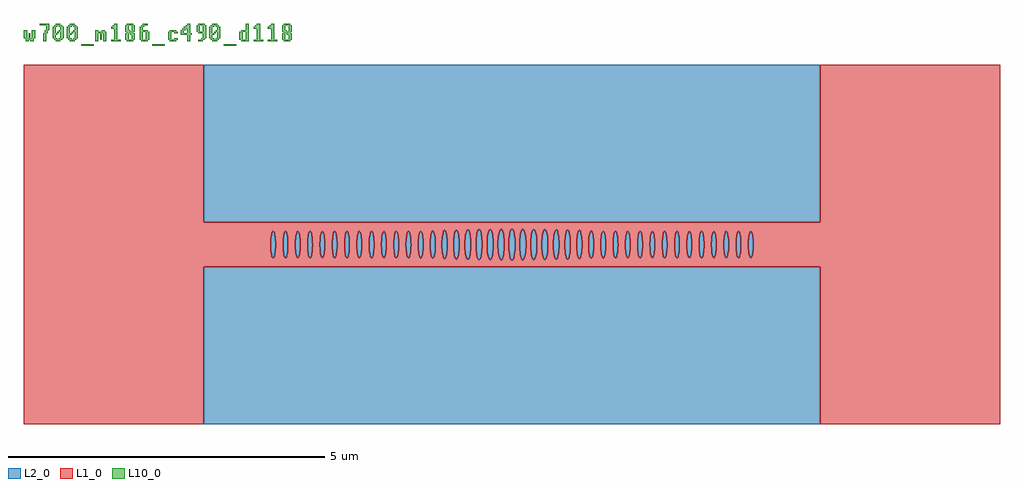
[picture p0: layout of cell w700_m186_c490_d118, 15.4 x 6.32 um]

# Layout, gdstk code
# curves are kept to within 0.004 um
import gdstk
lib = gdstk.Library(unit=1e-6, precision=1e-09)
def R(c, l, rs):  # rectangles x0, y0, x1, y1
    for r in rs: c.add(gdstk.rectangle(r[:2], r[2:], *l))
def A(c, l, x, y, w, h, nx, ny, dx, dy):  # array of equal rectangles
    R(c, l, [(x+i*dx, y+j*dy, x+i*dx+w, y+j*dy+h) for i in range(nx) for j in range(ny)])
def P(c, l, *ps):  # polygons
    for p in ps: c.add(gdstk.Polygon(p, *l))
L1_0 = (1, 0)
L2_0 = (2, 0)
L10_0 = (10, 0)

w700_m186_c490_d118 = lib.new_cell('w700_m186_c490_d118')
P(w700_m186_c490_d118, L1_0, [(-4.867,-2.835),(-4.867,-0.35),(-2.836,-0.35),(-2.836,0.35),(-4.867,0.35),(-4.867,2.835),(-7.702,2.835),(-7.702,-0.02),(-3.808,-0.02),(-3.807,0.059),(-3.795,0.159),(-3.782,0.198),(-3.768,0.21),(-3.753,0.191),(-3.741,0.145),(-3.731,-0.02),(-3.614,-0.02),(-3.61,0.096),(-3.601,0.159),(-3.588,0.198),(-3.573,0.21),(-3.559,0.191),(-3.547,0.145),(-3.536,-0.02),(-3.42,-0.02),(-3.412,0.13),(-3.394,0.198),(-3.379,0.21),(-3.358,0.171),(-3.348,0.114),(-3.342,-0.02),(-3.225,-0.02),(-3.224,0.059),(-3.212,0.159),(-3.2,0.198),(-3.185,0.21),(-3.164,0.171),(-3.154,0.114),(-3.148,-0.02),(-3.031,-0.02),(-3.03,0.059),(-3.018,0.159),(-2.998,0.208),(-2.983,0.204),(-2.976,0.191),(-2.96,0.114),(-2.954,-0.04),(-2.97,-0.171),(-2.976,-0.191),(-2.991,-0.21),(-3.005,-0.198),(-3.018,-0.159),(-3.031,-0.02),(-3.148,-0.02),(-3.164,-0.171),(-3.185,-0.21),(-3.2,-0.198),(-3.212,-0.159),(-3.225,-0.02),(-3.342,-0.02),(-3.358,-0.171),(-3.379,-0.21),(-3.394,-0.198),(-3.406,-0.159),(-3.42,-0.02),(-3.536,-0.02),(-3.547,-0.145),(-3.559,-0.191),(-3.573,-0.21),(-3.588,-0.198),(-3.601,-0.159),(-3.614,-0.02),(-3.731,-0.02),(-3.741,-0.145),(-3.753,-0.191),(-3.768,-0.21),(-3.782,-0.198),(-3.795,-0.159),(-3.808,-0.02),(-7.702,-0.02),(-7.702,-2.835)],
  [(-1.865,0.059),(-1.847,0.182),(-1.847,0.35),(-2.836,0.35),(-2.836,0.059),(-2.818,0.182),(-2.804,0.208),(-2.789,0.204),(-2.77,0.145),(-2.76,-0.02),(-2.643,-0.02),(-2.639,0.096),(-2.63,0.159),(-2.617,0.198),(-2.602,0.21),(-2.588,0.191),(-2.576,0.145),(-2.565,-0.02),(-2.449,-0.02),(-2.441,0.13),(-2.423,0.198),(-2.408,0.21),(-2.387,0.171),(-2.377,0.114),(-2.371,-0.02),(-2.254,-0.02),(-2.253,0.059),(-2.241,0.159),(-2.229,0.198),(-2.214,0.21),(-2.193,0.171),(-2.183,0.114),(-2.177,-0.02),(-2.06,-0.02),(-2.052,0.13),(-2.041,0.182),(-2.027,0.208),(-2.012,0.204),(-1.999,0.171),(-1.983,0.04),(-1.989,-0.114),(-2.005,-0.191),(-2.02,-0.21),(-2.034,-0.198),(-2.047,-0.159),(-2.06,-0.02),(-2.177,-0.02),(-2.193,-0.171),(-2.214,-0.21),(-2.229,-0.198),(-2.241,-0.159),(-2.254,-0.02),(-2.371,-0.02),(-2.387,-0.171),(-2.408,-0.21),(-2.423,-0.198),(-2.435,-0.159),(-2.449,-0.02),(-2.565,-0.02),(-2.576,-0.145),(-2.588,-0.191),(-2.602,-0.21),(-2.617,-0.198),(-2.63,-0.159),(-2.643,-0.02),(-2.76,-0.02),(-2.77,-0.145),(-2.782,-0.191),(-2.797,-0.21),(-2.811,-0.198),(-2.824,-0.159),(-2.836,-0.059),(-2.836,-0.35),(-1.847,-0.35),(-1.847,-0.182),(-1.865,-0.059)],
  [(-1.833,0.208),(-1.818,0.204),(-1.799,0.145),(-1.789,-0.02),(-1.673,-0.02),(-1.664,0.131),(-1.653,0.183),(-1.639,0.209),(-1.624,0.205),(-1.605,0.146),(-1.594,0),(-1.481,0),(-1.471,0.145),(-1.459,0.192),(-1.445,0.214),(-1.437,0.214),(-1.423,0.192),(-1.411,0.145),(-1.401,0),(-1.292,0),(-1.281,0.148),(-1.269,0.196),(-1.254,0.218),(-1.239,0.211),(-1.225,0.175),(-1.215,0.115),(-1.209,0),(-1.106,0),(-1.095,0.151),(-1.082,0.201),(-1.067,0.223),(-1.059,0.223),(-1.043,0.201),(-1.026,0.118),(-1.02,-0.041),(-1.037,-0.179),(-1.051,-0.216),(-1.067,-0.223),(-1.082,-0.201),(-1.095,-0.151),(-1.106,0),(-1.209,0),(-1.215,-0.115),(-1.225,-0.175),(-1.239,-0.211),(-1.254,-0.218),(-1.269,-0.196),(-1.281,-0.148),(-1.292,0),(-1.401,0),(-1.411,-0.145),(-1.423,-0.192),(-1.437,-0.214),(-1.445,-0.214),(-1.459,-0.192),(-1.471,-0.145),(-1.481,0),(-1.594,0),(-1.605,-0.146),(-1.617,-0.192),(-1.632,-0.211),(-1.646,-0.2),(-1.659,-0.16),(-1.673,-0.02),(-1.789,-0.02),(-1.795,-0.114),(-1.811,-0.191),(-1.826,-0.21),(-1.833,-0.208),(-1.847,-0.182),(-1.847,-0.35),(-0.872,-0.35),(-0.872,-0.228),(-0.888,-0.224),(-0.903,-0.192),(-0.915,-0.135),(-0.923,-0.021),(-0.922,0.061),(-0.909,0.166),(-0.896,0.211),(-0.888,0.224),(-0.872,0.228),(-0.872,0.35),(-1.847,0.35),(-1.847,0.182)],
  [(-0.836,-0.081),(-0.85,-0.18),(-0.872,-0.228),(-0.872,-0.35),(0,-0.35),(0,-0.245),(-0.018,-0.23),(-0.033,-0.188),(-0.051,-0.043),(-0.044,0.122),(-0.026,0.212),(-0.018,0.23),(0,0.245),(0,0.35),(-0.872,0.35),(-0.872,0.228),(-0.857,0.202),(-0.844,0.151),(-0.834,-0.021),(-0.744,-0.021),(-0.742,0.062),(-0.73,0.17),(-0.716,0.216),(-0.699,0.234),(-0.691,0.232),(-0.675,0.207),(-0.662,0.154),(-0.653,0.082),(-0.65,-0.021),(-0.568,-0.021),(-0.559,0.14),(-0.546,0.199),(-0.522,0.239),(-0.504,0.227),(-0.483,0.157),(-0.471,0.043),(-0.471,-0.042),(-0.394,-0.042),(-0.394,0.042),(-0.383,0.156),(-0.362,0.227),(-0.344,0.242),(-0.327,0.227),(-0.319,0.21),(-0.306,0.156),(-0.294,0),(-0.223,0),(-0.22,0.083),(-0.204,0.187),(-0.189,0.229),(-0.172,0.244),(-0.163,0.24),(-0.139,0.187),(-0.121,0.042),(-0.127,-0.122),(-0.146,-0.211),(-0.163,-0.24),(-0.172,-0.244),(-0.189,-0.229),(-0.204,-0.187),(-0.22,-0.083),(-0.223,0),(-0.294,0),(-0.306,-0.156),(-0.319,-0.21),(-0.327,-0.227),(-0.344,-0.242),(-0.362,-0.227),(-0.377,-0.185),(-0.394,-0.042),(-0.471,-0.042),(-0.489,-0.187),(-0.504,-0.227),(-0.522,-0.239),(-0.538,-0.22),(-0.553,-0.173),(-0.568,-0.021),(-0.65,-0.021),(-0.668,-0.183),(-0.683,-0.223),(-0.699,-0.234),(-0.716,-0.216),(-0.73,-0.17),(-0.744,-0.021),(-0.834,-0.021)],
  [(0.835,0.061),(0.847,0.166),(0.868,0.224),(0.868,0.35),(0,0.35),(0,0.245),(0.018,0.23),(0.026,0.212),(0.044,0.122),(0.051,-0.042),(0.121,-0.042),(0.121,0.042),(0.133,0.157),(0.154,0.229),(0.172,0.244),(0.189,0.229),(0.211,0.157),(0.223,0),(0.294,0),(0.306,0.156),(0.319,0.21),(0.327,0.227),(0.344,0.242),(0.362,0.227),(0.383,0.156),(0.394,-0.021),(0.471,-0.021),(0.48,0.14),(0.5,0.22),(0.517,0.239),(0.534,0.227),(0.556,0.157),(0.565,0.084),(0.568,-0.021),(0.65,-0.021),(0.659,0.138),(0.671,0.196),(0.687,0.229),(0.695,0.234),(0.712,0.223),(0.733,0.154),(0.744,0),(0.733,-0.154),(0.712,-0.223),(0.695,-0.234),(0.679,-0.216),(0.665,-0.17),(0.65,-0.021),(0.568,-0.021),(0.55,-0.187),(0.534,-0.227),(0.517,-0.239),(0.5,-0.22),(0.486,-0.173),(0.471,-0.021),(0.394,-0.021),(0.388,-0.121),(0.377,-0.185),(0.362,-0.227),(0.344,-0.242),(0.327,-0.227),(0.319,-0.21),(0.306,-0.156),(0.294,0),(0.223,0),(0.211,-0.157),(0.189,-0.229),(0.172,-0.244),(0.154,-0.229),(0.139,-0.187),(0.121,-0.042),(0.051,-0.042),(0.033,-0.188),(0.018,-0.23),(0,-0.245),(0,-0.35),(0.868,-0.35),(0.868,-0.224),(0.853,-0.192),(0.842,-0.135),(0.833,-0.021)],
  [(0.884,0.228),(0.9,0.202),(0.912,0.151),(0.923,0),(1.019,0),(1.022,0.081),(1.037,0.179),(1.051,0.216),(1.059,0.223),(1.074,0.216),(1.089,0.179),(1.099,0.118),(1.105,-0.04),(1.209,-0.04),(1.215,0.115),(1.225,0.175),(1.246,0.218),(1.262,0.211),(1.281,0.148),(1.289,0.079),(1.291,-0.039),(1.401,-0.039),(1.403,0.077),(1.411,0.145),(1.423,0.192),(1.437,0.214),(1.445,0.214),(1.459,0.192),(1.471,0.145),(1.48,-0.02),(1.595,-0.02),(1.596,0.06),(1.608,0.16),(1.621,0.2),(1.635,0.211),(1.65,0.192),(1.662,0.146),(1.673,-0.02),(1.662,-0.146),(1.65,-0.192),(1.635,-0.211),(1.621,-0.2),(1.608,-0.16),(1.595,-0.02),(1.48,-0.02),(1.471,-0.145),(1.459,-0.192),(1.445,-0.214),(1.43,-0.206),(1.417,-0.171),(1.401,-0.039),(1.291,-0.039),(1.281,-0.148),(1.269,-0.196),(1.254,-0.218),(1.239,-0.211),(1.225,-0.175),(1.209,-0.04),(1.105,-0.04),(1.089,-0.179),(1.074,-0.216),(1.059,-0.223),(1.043,-0.201),(1.031,-0.151),(1.019,0),(0.923,0),(0.917,-0.118),(0.906,-0.18),(0.884,-0.228),(0.868,-0.224),(0.868,-0.35),(1.837,-0.35),(1.837,-0.204),(1.822,-0.208),(1.808,-0.182),(1.793,-0.096),(1.789,-0.02),(1.79,0.059),(1.802,0.159),(1.822,0.208),(1.837,0.204),(1.837,0.35),(0.868,0.35),(0.868,0.224)],
  [(1.863,-0.078),(1.856,-0.145),(1.837,-0.204),(1.837,-0.35),(2.831,-0.35),(2.831,-0.114),(2.815,-0.191),(2.808,-0.204),(2.793,-0.208),(2.773,-0.159),(2.76,-0.02),(2.768,0.13),(2.786,0.198),(2.8,0.21),(2.815,0.191),(2.831,0.114),(2.831,0.35),(1.837,0.35),(1.837,0.204),(1.856,0.145),(1.866,-0.02),(1.983,-0.02),(1.984,0.059),(1.996,0.159),(2.009,0.198),(2.023,0.21),(2.038,0.191),(2.05,0.145),(2.06,-0.02),(2.177,-0.02),(2.181,0.096),(2.19,0.159),(2.203,0.198),(2.218,0.21),(2.232,0.191),(2.244,0.145),(2.255,-0.02),(2.371,-0.02),(2.379,0.13),(2.397,0.198),(2.412,0.21),(2.433,0.171),(2.443,0.114),(2.449,-0.02),(2.566,-0.02),(2.567,0.059),(2.579,0.159),(2.592,0.198),(2.606,0.21),(2.62,0.191),(2.632,0.145),(2.643,0),(2.632,-0.145),(2.62,-0.191),(2.606,-0.21),(2.592,-0.198),(2.579,-0.159),(2.566,-0.02),(2.449,-0.02),(2.433,-0.171),(2.412,-0.21),(2.397,-0.198),(2.385,-0.159),(2.371,-0.02),(2.255,-0.02),(2.244,-0.145),(2.232,-0.191),(2.218,-0.21),(2.203,-0.198),(2.19,-0.159),(2.177,-0.02),(2.06,-0.02),(2.05,-0.145),(2.038,-0.191),(2.023,-0.21),(2.009,-0.198),(1.996,-0.159),(1.983,-0.02),(1.866,-0.02)],
  [(2.834,-0.078),(2.831,-0.35),(4.867,-0.35),(4.867,-2.835),(7.702,-2.835),(7.702,2.835),(4.867,2.835),(4.867,0.35),(2.831,0.35),(2.837,-0.02),(2.954,-0.02),(2.955,0.059),(2.967,0.159),(2.98,0.198),(2.994,0.21),(3.009,0.191),(3.021,0.145),(3.031,-0.02),(3.148,-0.02),(3.152,0.096),(3.161,0.159),(3.174,0.198),(3.189,0.21),(3.203,0.191),(3.215,0.145),(3.226,-0.02),(3.342,-0.02),(3.35,0.13),(3.368,0.198),(3.383,0.21),(3.404,0.171),(3.414,0.114),(3.42,-0.02),(3.537,-0.02),(3.538,0.059),(3.55,0.159),(3.563,0.198),(3.577,0.21),(3.598,0.171),(3.608,0.114),(3.614,-0.02),(3.731,-0.02),(3.739,0.13),(3.75,0.182),(3.764,0.208),(3.779,0.204),(3.792,0.171),(3.808,0.04),(3.808,-0.04),(3.798,-0.145),(3.786,-0.191),(3.771,-0.21),(3.757,-0.198),(3.744,-0.159),(3.731,-0.02),(3.614,-0.02),(3.598,-0.171),(3.577,-0.21),(3.563,-0.198),(3.55,-0.159),(3.537,-0.02),(3.42,-0.02),(3.404,-0.171),(3.383,-0.21),(3.368,-0.198),(3.356,-0.159),(3.342,-0.02),(3.226,-0.02),(3.215,-0.145),(3.203,-0.191),(3.189,-0.21),(3.174,-0.198),(3.161,-0.159),(3.148,-0.02),(3.031,-0.02),(3.021,-0.145),(3.009,-0.191),(2.994,-0.21),(2.98,-0.198),(2.967,-0.159),(2.954,-0.02),(2.837,-0.02)])
R(w700_m186_c490_d118, L2_0, [(-4.867,-2.835,4.867,-0.35), (-4.867,0.35,4.867,2.835)])
P(w700_m186_c490_d118, L2_0, [(-1.478,-0.077),(-1.465,-0.171),(-1.445,-0.214),(-1.437,-0.214),(-1.423,-0.192),(-1.411,-0.145),(-1.401,-0.039),(-1.403,0.077),(-1.417,0.171),(-1.437,0.214),(-1.445,0.214),(-1.459,0.192),(-1.471,0.145),(-1.48,0.039)],
  [(-1.289,-0.079),(-1.275,-0.175),(-1.262,-0.211),(-1.254,-0.218),(-1.246,-0.218),(-1.232,-0.196),(-1.215,-0.115),(-1.209,-0.04),(-1.215,0.115),(-1.225,0.175),(-1.246,0.218),(-1.262,0.211),(-1.269,0.196),(-1.286,0.115),(-1.292,0)],
  [(-1.103,-0.081),(-1.089,-0.179),(-1.067,-0.223),(-1.051,-0.216),(-1.043,-0.201),(-1.026,-0.118),(-1.019,0),(-1.022,0.081),(-1.037,0.179),(-1.043,0.201),(-1.059,0.223),(-1.067,0.223),(-1.082,0.201),(-1.095,0.151),(-1.105,0.041)],
  [(-0.22,-0.083),(-0.211,-0.157),(-0.197,-0.211),(-0.189,-0.229),(-0.172,-0.244),(-0.154,-0.229),(-0.146,-0.211),(-0.127,-0.122),(-0.121,-0.043),(-0.127,0.122),(-0.146,0.211),(-0.154,0.229),(-0.172,0.244),(-0.189,0.229),(-0.211,0.157),(-0.222,0.042)],
  [(0.297,-0.083),(0.312,-0.185),(0.336,-0.238),(0.344,-0.242),(0.362,-0.227),(0.383,-0.156),(0.394,-0.042),(0.388,0.121),(0.369,0.21),(0.362,0.227),(0.344,0.242),(0.327,0.227),(0.319,0.21),(0.306,0.156),(0.295,0.042)],
  [(1.022,-0.081),(1.037,-0.179),(1.051,-0.216),(1.059,-0.223),(1.074,-0.216),(1.095,-0.151),(1.105,-0.041),(1.103,0.081),(1.089,0.179),(1.067,0.223),(1.051,0.216),(1.043,0.201),(1.026,0.118),(1.019,0)],
  [(1.987,-0.096),(2.002,-0.182),(2.016,-0.208),(2.023,-0.21),(2.038,-0.191),(2.054,-0.114),(2.06,-0.04),(2.058,0.078),(2.044,0.171),(2.038,0.191),(2.023,0.21),(2.016,0.208),(2.002,0.182),(1.991,0.13),(1.983,0.02)],
  [(-1.597,0.079),(-1.605,0.146),(-1.624,0.205),(-1.632,0.211),(-1.646,0.2),(-1.664,0.131),(-1.673,0.02),(-1.668,-0.097),(-1.653,-0.183),(-1.646,-0.2),(-1.632,-0.211),(-1.617,-0.192),(-1.601,-0.114),(-1.594,0)],
  [(2.376,-0.096),(2.385,-0.159),(2.404,-0.208),(2.412,-0.21),(2.426,-0.191),(2.443,-0.114),(2.449,-0.02),(2.443,0.114),(2.433,0.171),(2.412,0.21),(2.397,0.198),(2.379,0.13),(2.371,0.02)],
  [(2.254,0.04),(2.244,0.145),(2.225,0.204),(2.21,0.208),(2.203,0.198),(2.185,0.13),(2.177,0.02),(2.181,-0.096),(2.196,-0.182),(2.21,-0.208),(2.218,-0.21),(2.232,-0.191),(2.244,-0.145),(2.252,-0.078)],
  [(2.764,-0.096),(2.779,-0.182),(2.793,-0.208),(2.8,-0.21),(2.815,-0.191),(2.831,-0.114),(2.837,-0.04),(2.831,0.114),(2.815,0.191),(2.8,0.21),(2.793,0.208),(2.779,0.182),(2.768,0.13),(2.76,0.02)],
  [(1.863,0.078),(1.856,0.145),(1.837,0.204),(1.829,0.21),(1.815,0.198),(1.797,0.13),(1.789,0.02),(1.793,-0.096),(1.808,-0.182),(1.822,-0.208),(1.829,-0.21),(1.844,-0.191),(1.86,-0.114),(1.866,-0.04)],
  [(1.672,0.04),(1.662,0.146),(1.643,0.205),(1.635,0.211),(1.621,0.2),(1.603,0.131),(1.595,0.02),(1.599,-0.097),(1.614,-0.183),(1.621,-0.2),(1.635,-0.211),(1.65,-0.192),(1.667,-0.114)],
  [(-3.61,-0.096),(-3.601,-0.159),(-3.581,-0.208),(-3.573,-0.21),(-3.559,-0.191),(-3.543,-0.114),(-3.536,-0.02),(-3.539,0.078),(-3.553,0.171),(-3.573,0.21),(-3.581,0.208),(-3.595,0.182),(-3.606,0.13),(-3.614,0.02)],
  [(-3.416,-0.096),(-3.406,-0.159),(-3.387,-0.208),(-3.379,-0.21),(-3.365,-0.191),(-3.348,-0.114),(-3.342,-0.02),(-3.348,0.114),(-3.358,0.171),(-3.379,0.21),(-3.394,0.198),(-3.412,0.13),(-3.42,0.02)],
  [(2.958,-0.096),(2.973,-0.182),(2.987,-0.208),(2.994,-0.21),(3.009,-0.191),(3.025,-0.114),(3.031,-0.04),(3.029,0.078),(3.015,0.171),(3.009,0.191),(2.994,0.21),(2.987,0.208),(2.973,0.182),(2.962,0.13),(2.954,0.02)],
  [(-3.221,-0.096),(-3.206,-0.182),(-3.2,-0.198),(-3.185,-0.21),(-3.164,-0.171),(-3.154,-0.114),(-3.148,-0.02),(-3.154,0.114),(-3.164,0.171),(-3.185,0.21),(-3.2,0.198),(-3.217,0.13),(-3.225,0.02)],
  [(-3.027,-0.096),(-3.012,-0.182),(-2.998,-0.208),(-2.991,-0.21),(-2.976,-0.191),(-2.96,-0.114),(-2.954,-0.04),(-2.96,0.114),(-2.976,0.191),(-2.991,0.21),(-2.998,0.208),(-3.012,0.182),(-3.023,0.13),(-3.031,0.02)],
  [(-2.833,-0.096),(-2.818,-0.182),(-2.804,-0.208),(-2.797,-0.21),(-2.782,-0.191),(-2.766,-0.114),(-2.76,-0.04),(-2.762,0.078),(-2.776,0.171),(-2.782,0.191),(-2.797,0.21),(-2.804,0.208),(-2.818,0.182),(-2.829,0.13),(-2.837,0.02)],
  [(3.152,-0.096),(3.161,-0.159),(3.181,-0.208),(3.189,-0.21),(3.203,-0.191),(3.219,-0.114),(3.226,-0.02),(3.223,0.078),(3.209,0.171),(3.189,0.21),(3.181,0.208),(3.167,0.182),(3.156,0.13),(3.148,0.02)],
  [(-2.639,-0.096),(-2.63,-0.159),(-2.61,-0.208),(-2.602,-0.21),(-2.588,-0.191),(-2.572,-0.114),(-2.565,-0.02),(-2.568,0.078),(-2.582,0.171),(-2.602,0.21),(-2.61,0.208),(-2.624,0.182),(-2.635,0.13),(-2.643,0.02)],
  [(-2.445,-0.096),(-2.435,-0.159),(-2.416,-0.208),(-2.408,-0.21),(-2.394,-0.191),(-2.377,-0.114),(-2.371,-0.02),(-2.377,0.114),(-2.387,0.171),(-2.408,0.21),(-2.423,0.198),(-2.441,0.13),(-2.449,0.02)],
  [(3.347,-0.096),(3.356,-0.159),(3.375,-0.208),(3.383,-0.21),(3.397,-0.191),(3.414,-0.114),(3.42,-0.02),(3.414,0.114),(3.404,0.171),(3.383,0.21),(3.368,0.198),(3.35,0.13),(3.342,0.02)],
  [(-2.25,-0.096),(-2.235,-0.182),(-2.229,-0.198),(-2.214,-0.21),(-2.193,-0.171),(-2.183,-0.114),(-2.177,-0.02),(-2.183,0.114),(-2.193,0.171),(-2.214,0.21),(-2.229,0.198),(-2.246,0.13),(-2.254,0.02)],
  [(2.642,0.04),(2.632,0.145),(2.613,0.204),(2.606,0.21),(2.592,0.198),(2.574,0.13),(2.566,0.02),(2.57,-0.096),(2.585,-0.182),(2.599,-0.208),(2.606,-0.21),(2.627,-0.171),(2.637,-0.114)],
  [(-2.056,-0.096),(-2.041,-0.182),(-2.027,-0.208),(-2.02,-0.21),(-2.005,-0.191),(-1.989,-0.114),(-1.983,-0.04),(-1.989,0.114),(-2.005,0.191),(-2.02,0.21),(-2.027,0.208),(-2.041,0.182),(-2.052,0.13),(-2.06,0.02)],
  [(-1.791,0.078),(-1.799,0.145),(-1.818,0.204),(-1.826,0.21),(-1.84,0.198),(-1.858,0.13),(-1.866,0.02),(-1.862,-0.096),(-1.847,-0.182),(-1.833,-0.208),(-1.826,-0.21),(-1.811,-0.191),(-1.795,-0.114),(-1.789,-0.04)],
  [(3.541,-0.096),(3.556,-0.182),(3.57,-0.208),(3.577,-0.21),(3.598,-0.171),(3.608,-0.114),(3.614,-0.02),(3.608,0.114),(3.598,0.171),(3.577,0.21),(3.57,0.208),(3.556,0.182),(3.545,0.13),(3.537,0.02)],
  [(3.735,-0.096),(3.75,-0.182),(3.764,-0.208),(3.771,-0.21),(3.786,-0.191),(3.802,-0.114),(3.808,-0.04),(3.802,0.114),(3.786,0.191),(3.771,0.21),(3.764,0.208),(3.75,0.182),(3.739,0.13),(3.731,0.02)],
  [(-3.733,0.078),(-3.741,0.145),(-3.76,0.204),(-3.768,0.21),(-3.782,0.198),(-3.8,0.13),(-3.808,0.02),(-3.804,-0.096),(-3.789,-0.182),(-3.775,-0.208),(-3.768,-0.21),(-3.753,-0.191),(-3.737,-0.114),(-3.731,-0.04)],
  [(-0.919,-0.1),(-0.903,-0.192),(-0.888,-0.224),(-0.88,-0.229),(-0.872,-0.228),(-0.857,-0.202),(-0.839,-0.118),(-0.833,0),(-0.839,0.118),(-0.85,0.18),(-0.872,0.228),(-0.888,0.224),(-0.896,0.211),(-0.915,0.135),(-0.923,0.021)],
  [(-0.739,-0.102),(-0.723,-0.196),(-0.708,-0.229),(-0.699,-0.234),(-0.691,-0.232),(-0.675,-0.207),(-0.657,-0.12),(-0.65,-0.021),(-0.657,0.12),(-0.675,0.207),(-0.683,0.223),(-0.699,0.234),(-0.716,0.216),(-0.735,0.138),(-0.744,0.021)],
  [(0.476,-0.104),(0.493,-0.199),(0.5,-0.22),(0.517,-0.239),(0.526,-0.237),(0.542,-0.21),(0.561,-0.122),(0.568,-0.021),(0.561,0.122),(0.542,0.21),(0.526,0.237),(0.517,0.239),(0.5,0.22),(0.48,0.14),(0.471,0.021)],
  [(0.655,-0.102),(0.671,-0.196),(0.687,-0.229),(0.695,-0.234),(0.712,-0.223),(0.733,-0.154),(0.744,-0.021),(0.741,0.082),(0.733,0.154),(0.719,0.207),(0.712,0.223),(0.695,0.234),(0.687,0.229),(0.671,0.196),(0.659,0.138),(0.65,0.021)],
  [(0.92,0.081),(0.906,0.18),(0.884,0.228),(0.868,0.224),(0.86,0.211),(0.842,0.135),(0.833,0.021),(0.838,-0.1),(0.853,-0.192),(0.868,-0.224),(0.876,-0.229),(0.884,-0.228),(0.9,-0.202),(0.917,-0.118),(0.923,-0.041)],
  [(-0.563,-0.104),(-0.546,-0.199),(-0.522,-0.239),(-0.504,-0.227),(-0.496,-0.21),(-0.478,-0.122),(-0.471,-0.043),(-0.478,0.122),(-0.496,0.21),(-0.504,0.227),(-0.522,0.239),(-0.546,0.199),(-0.559,0.14),(-0.568,0.021)],
  [(1.48,0.039),(1.471,0.145),(1.452,0.206),(1.445,0.214),(1.43,0.206),(1.411,0.145),(1.401,0.039),(1.403,-0.077),(1.417,-0.171),(1.437,-0.214),(1.445,-0.214),(1.459,-0.192),(1.471,-0.145)],
  [(1.291,0.04),(1.281,0.148),(1.262,0.211),(1.254,0.218),(1.239,0.211),(1.22,0.148),(1.209,0.04),(1.209,-0.04),(1.225,-0.175),(1.246,-0.218),(1.262,-0.211),(1.281,-0.148),(1.289,-0.079)],
  [(-0.297,0.083),(-0.312,0.185),(-0.336,0.238),(-0.344,0.242),(-0.362,0.227),(-0.383,0.156),(-0.394,0.042),(-0.388,-0.121),(-0.369,-0.21),(-0.362,-0.227),(-0.344,-0.242),(-0.327,-0.227),(-0.319,-0.21),(-0.306,-0.156),(-0.295,-0.042)],
  [(0.22,0.083),(0.211,0.157),(0.197,0.211),(0.189,0.229),(0.172,0.244),(0.154,0.229),(0.146,0.211),(0.127,0.122),(0.121,0.042),(0.127,-0.122),(0.146,-0.211),(0.154,-0.229),(0.172,-0.244),(0.189,-0.229),(0.211,-0.157),(0.222,-0.042)],
  [(0.048,0.084),(0.033,0.188),(0.009,0.241),(0,0.245),(-0.018,0.23),(-0.039,0.157),(-0.051,0.043),(-0.048,-0.084),(-0.026,-0.212),(-0.018,-0.23),(0,-0.245),(0.018,-0.23),(0.026,-0.212),(0.039,-0.157),(0.051,-0.043)])
A(w700_m186_c490_d118, L10_0, -6.802, 3.135, 0.2, 0.025, 3, 1, 1.125, 0)
R(w700_m186_c490_d118, L10_0, [(-7.177,3.335,-7.152,3.36), (-6.952,3.335,-6.927,3.36), (-4.702,3.335,-4.677,3.36)])
P(w700_m186_c490_d118, L10_0, [(-7.677,3.26),(-7.677,3.21),(-7.627,3.21),(-7.627,3.235),(-7.602,3.235),(-7.602,3.21),(-7.552,3.21),(-7.552,3.26),(-7.527,3.26),(-7.527,3.385),(-7.577,3.385),(-7.577,3.26),(-7.602,3.26),(-7.602,3.335),(-7.627,3.335),(-7.627,3.26),(-7.652,3.26),(-7.652,3.385),(-7.702,3.385),(-7.702,3.26)],
  [(-7.352,3.385),(-7.377,3.385),(-7.377,3.335),(-7.402,3.335),(-7.402,3.21),(-7.352,3.21),(-7.352,3.335),(-7.327,3.335),(-7.327,3.385),(-7.302,3.385),(-7.302,3.485),(-7.452,3.485),(-7.452,3.46),(-7.352,3.46)],
  [(-7.102,3.26),(-7.077,3.26),(-7.077,3.435),(-7.102,3.435),(-7.102,3.46),(-7.127,3.46),(-7.127,3.485),(-7.202,3.485),(-7.202,3.46),(-7.227,3.46),(-7.227,3.435),(-7.252,3.435),(-7.252,3.26),(-7.202,3.26),(-7.202,3.31),(-7.177,3.31),(-7.177,3.335),(-7.202,3.335),(-7.202,3.435),(-7.177,3.435),(-7.177,3.46),(-7.152,3.46),(-7.152,3.435),(-7.127,3.435),(-7.127,3.385),(-7.152,3.385),(-7.152,3.36),(-7.127,3.36),(-7.127,3.26),(-7.152,3.26),(-7.152,3.235),(-7.177,3.235),(-7.177,3.26),(-7.202,3.26),(-7.252,3.26),(-7.227,3.26),(-7.227,3.235),(-7.202,3.235),(-7.202,3.21),(-7.127,3.21),(-7.127,3.235),(-7.102,3.235)],
  [(-6.877,3.26),(-6.852,3.26),(-6.852,3.435),(-6.877,3.435),(-6.877,3.46),(-6.902,3.46),(-6.902,3.485),(-6.977,3.485),(-6.977,3.46),(-7.002,3.46),(-7.002,3.435),(-7.027,3.435),(-7.027,3.26),(-6.977,3.26),(-6.977,3.31),(-6.952,3.31),(-6.952,3.335),(-6.977,3.335),(-6.977,3.435),(-6.952,3.435),(-6.952,3.46),(-6.927,3.46),(-6.927,3.435),(-6.902,3.435),(-6.902,3.385),(-6.927,3.385),(-6.927,3.36),(-6.902,3.36),(-6.902,3.26),(-6.927,3.26),(-6.927,3.235),(-6.952,3.235),(-6.952,3.26),(-6.977,3.26),(-7.027,3.26),(-7.002,3.26),(-7.002,3.235),(-6.977,3.235),(-6.977,3.21),(-6.902,3.21),(-6.902,3.235),(-6.877,3.235)],
  [(-6.527,3.21),(-6.527,3.335),(-6.502,3.335),(-6.502,3.235),(-6.477,3.235),(-6.477,3.335),(-6.452,3.335),(-6.452,3.21),(-6.402,3.21),(-6.402,3.36),(-6.427,3.36),(-6.427,3.385),(-6.477,3.385),(-6.477,3.36),(-6.527,3.36),(-6.527,3.385),(-6.577,3.385),(-6.577,3.21)],
  [(-6.302,3.435),(-6.327,3.435),(-6.327,3.41),(-6.277,3.41),(-6.277,3.235),(-6.327,3.235),(-6.327,3.21),(-6.177,3.21),(-6.177,3.235),(-6.227,3.235),(-6.227,3.485),(-6.277,3.485),(-6.277,3.46),(-6.302,3.46)],
  [(-5.952,3.335),(-5.977,3.335),(-5.977,3.36),(-5.952,3.36),(-5.952,3.46),(-5.977,3.46),(-5.977,3.485),(-6.077,3.485),(-6.077,3.46),(-6.102,3.46),(-6.102,3.385),(-6.052,3.385),(-6.052,3.46),(-6.002,3.46),(-6.002,3.36),(-6.027,3.36),(-6.027,3.385),(-6.052,3.385),(-6.102,3.385),(-6.102,3.36),(-6.077,3.36),(-6.077,3.335),(-6.102,3.335),(-6.102,3.235),(-6.052,3.235),(-6.052,3.335),(-6.027,3.335),(-6.027,3.31),(-6.002,3.31),(-6.002,3.235),(-6.052,3.235),(-6.102,3.235),(-6.077,3.235),(-6.077,3.21),(-5.977,3.21),(-5.977,3.235),(-5.952,3.235)],
  [(-5.727,3.36),(-5.752,3.36),(-5.752,3.385),(-5.827,3.385),(-5.827,3.435),(-5.802,3.435),(-5.802,3.46),(-5.752,3.46),(-5.752,3.485),(-5.827,3.485),(-5.827,3.46),(-5.852,3.46),(-5.852,3.435),(-5.877,3.435),(-5.877,3.235),(-5.827,3.235),(-5.827,3.36),(-5.777,3.36),(-5.777,3.235),(-5.827,3.235),(-5.877,3.235),(-5.852,3.235),(-5.852,3.21),(-5.752,3.21),(-5.752,3.235),(-5.727,3.235)],
  [(-5.427,3.235),(-5.402,3.235),(-5.402,3.21),(-5.302,3.21),(-5.302,3.235),(-5.277,3.235),(-5.277,3.26),(-5.327,3.26),(-5.327,3.235),(-5.377,3.235),(-5.377,3.36),(-5.327,3.36),(-5.327,3.335),(-5.277,3.335),(-5.277,3.36),(-5.302,3.36),(-5.302,3.385),(-5.402,3.385),(-5.402,3.36),(-5.427,3.36)],
  [(-5.077,3.21),(-5.077,3.31),(-5.052,3.31),(-5.052,3.335),(-5.077,3.335),(-5.077,3.485),(-5.127,3.485),(-5.127,3.46),(-5.152,3.46),(-5.152,3.435),(-5.177,3.435),(-5.177,3.41),(-5.202,3.41),(-5.202,3.385),(-5.227,3.385),(-5.227,3.335),(-5.177,3.335),(-5.177,3.385),(-5.152,3.385),(-5.152,3.41),(-5.127,3.41),(-5.127,3.335),(-5.177,3.335),(-5.227,3.335),(-5.227,3.31),(-5.127,3.31),(-5.127,3.21)],
  [(-4.877,3.26),(-4.902,3.26),(-4.902,3.235),(-4.952,3.235),(-4.952,3.21),(-4.877,3.21),(-4.877,3.235),(-4.852,3.235),(-4.852,3.26),(-4.827,3.26),(-4.827,3.46),(-4.852,3.46),(-4.852,3.485),(-4.952,3.485),(-4.952,3.46),(-4.977,3.46),(-4.977,3.36),(-4.927,3.36),(-4.927,3.46),(-4.877,3.46),(-4.877,3.36),(-4.927,3.36),(-4.977,3.36),(-4.952,3.36),(-4.952,3.335),(-4.877,3.335)],
  [(-4.627,3.26),(-4.602,3.26),(-4.602,3.435),(-4.627,3.435),(-4.627,3.46),(-4.652,3.46),(-4.652,3.485),(-4.727,3.485),(-4.727,3.46),(-4.752,3.46),(-4.752,3.435),(-4.777,3.435),(-4.777,3.26),(-4.727,3.26),(-4.727,3.31),(-4.702,3.31),(-4.702,3.335),(-4.727,3.335),(-4.727,3.435),(-4.702,3.435),(-4.702,3.46),(-4.677,3.46),(-4.677,3.435),(-4.652,3.435),(-4.652,3.385),(-4.677,3.385),(-4.677,3.36),(-4.652,3.36),(-4.652,3.26),(-4.677,3.26),(-4.677,3.235),(-4.702,3.235),(-4.702,3.26),(-4.727,3.26),(-4.777,3.26),(-4.752,3.26),(-4.752,3.235),(-4.727,3.235),(-4.727,3.21),(-4.652,3.21),(-4.652,3.235),(-4.627,3.235)],
  [(-4.202,3.485),(-4.202,3.385),(-4.277,3.385),(-4.277,3.36),(-4.302,3.36),(-4.302,3.235),(-4.252,3.235),(-4.252,3.36),(-4.202,3.36),(-4.202,3.235),(-4.252,3.235),(-4.302,3.235),(-4.277,3.235),(-4.277,3.21),(-4.152,3.21),(-4.152,3.485)],
  [(-4.052,3.435),(-4.077,3.435),(-4.077,3.41),(-4.027,3.41),(-4.027,3.235),(-4.077,3.235),(-4.077,3.21),(-3.927,3.21),(-3.927,3.235),(-3.977,3.235),(-3.977,3.485),(-4.027,3.485),(-4.027,3.46),(-4.052,3.46)],
  [(-3.827,3.435),(-3.852,3.435),(-3.852,3.41),(-3.802,3.41),(-3.802,3.235),(-3.852,3.235),(-3.852,3.21),(-3.702,3.21),(-3.702,3.235),(-3.752,3.235),(-3.752,3.485),(-3.802,3.485),(-3.802,3.46),(-3.827,3.46)],
  [(-3.477,3.335),(-3.502,3.335),(-3.502,3.36),(-3.477,3.36),(-3.477,3.46),(-3.502,3.46),(-3.502,3.485),(-3.602,3.485),(-3.602,3.46),(-3.627,3.46),(-3.627,3.385),(-3.577,3.385),(-3.577,3.46),(-3.527,3.46),(-3.527,3.36),(-3.552,3.36),(-3.552,3.385),(-3.577,3.385),(-3.627,3.385),(-3.627,3.36),(-3.602,3.36),(-3.602,3.335),(-3.627,3.335),(-3.627,3.235),(-3.577,3.235),(-3.577,3.335),(-3.552,3.335),(-3.552,3.31),(-3.527,3.31),(-3.527,3.235),(-3.577,3.235),(-3.627,3.235),(-3.602,3.235),(-3.602,3.21),(-3.502,3.21),(-3.502,3.235),(-3.477,3.235)])

lib.write_gds('w700_m186_c490_d118.gds')
